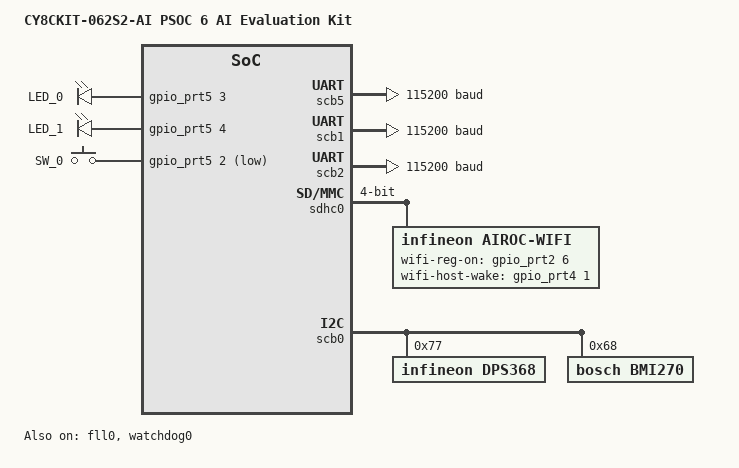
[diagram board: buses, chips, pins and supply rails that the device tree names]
/*
 * Copyright (c) 2024 Arrow Electronics.
 *
 * SPDX-License-Identifier: Apache-2.0
 */

/dts-v1/;
#include <infineon/cat1a/mpns/CY8C624ABZI_S2D44.dtsi>
#include <infineon/cat1a/system_clocks.dtsi>
#include <zephyr/dt-bindings/input/input-event-codes.h>

/ {
	model = "CY8CKIT-062S2-AI PSOC 6 AI Evaluation Kit";
	compatible = "infineon,cy8ckit_062s2_ai", "cypress,PSOC6";

	chosen {
		zephyr,console = &uart5;
		zephyr,shell-uart = &uart5;
		zephyr,sram = &sram0;
		zephyr,flash = &flash0;
		zephyr,bt-hci = &bt_hci_uart;
	};

	aliases {
		led0 = &user_led0;
		sw0 = &user_bt;
		watchdog0 = &watchdog0;
		pressure-sensor = &dps368;
		accel0 = &bmi270;
		sdhc0 = &sdhc0;
	};

	leds {
		compatible = "gpio-leds";

		user_led0: led_0 {
			label = "LED_0";
			gpios = <&gpio_prt5 3 GPIO_ACTIVE_HIGH>;
		};

		user_led1: led_1 {
			label = "LED_1";
			gpios = <&gpio_prt5 4 GPIO_ACTIVE_HIGH>;
		};
	};

	gpio_keys {
		compatible = "gpio-keys";

		user_bt: button_0 {
			label = "SW_0";
			gpios = <&gpio_prt5 2 (GPIO_PULL_UP | GPIO_ACTIVE_LOW)>;
			zephyr,code = <INPUT_KEY_0>;
		};
	};
};

&fll0 {
	status = "okay";
	clock-frequency = <100000000>;
};

&clk_hf0 {
	clock-div = <1>;
	clocks = <&fll0>;
};

/* CLK_HF4 for SDIO/WiFi */
&clk_hf4 {
	clock-div = <1>;
	clocks = <&fll0>;
	status = "okay";
};

/* CM4 core clock = 100MHz
 * &fll clock-frequency / &clk_hf0 clock-div / &clk_fast clock-div = 100MHz / 1 / 1 = 100MHz
 */
&clk_fast {
	clock-div = <1>;
};

/* CM0+ core clock = 50MHz
 * &fll clock-frequency / &clk_hf0 clock-div / &clk_slow clock-div = 100MHz / 1 / 2 = 50MHz
 */
&clk_slow {
	clock-div = <2>;
};

/* PERI core clock = 100MHz
 * &fll clock-frequency / &clk_hf0 clock-div / &clk_peri clock-div = 100MHz / 1 / 1 = 100MHz
 */
&clk_peri {
	clock-div = <1>;
};

&gpio_prt2 {
	status = "okay";
};

&gpio_prt3 {
	status = "okay";
};

&gpio_prt4 {
	status = "okay";
};

&gpio_prt5 {
	status = "okay";
};

&gpio_prt10 {
	status = "okay";
};

/* UART connected to KitProg3 */
uart5: &scb5 {
	compatible = "infineon,uart";
	status = "okay";
	current-speed = <115200>;
	pinctrl-0 = <&p5_1_scb5_uart_tx &p5_0_scb5_uart_rx>;
	pinctrl-names = "default";
};

uart1: &scb1 {
	compatible = "infineon,uart";
	status = "okay";
	current-speed = <115200>;
	pinctrl-0 = <&p10_0_scb1_uart_rx &p10_1_scb1_uart_tx>;
	pinctrl-names = "default";
};

uart2: &scb2 {
	compatible = "infineon,uart";
	status = "okay";

	/* The UART bus speed (current_speed) for zephyr_bt_uart should be the same
	 * as the default baudrate defined in CYW43xx firmware (default 115200).
	 */
	current-speed = <115200>;

	/* HCI-UART pins */
	pinctrl-0 = <&p3_1_scb2_uart_tx &p3_0_scb2_uart_rx &p3_2_scb2_uart_rts &p3_3_scb2_uart_cts>;
	pinctrl-names = "default";

	/* HW Flow control must be enabled for HCI H4 */
	hw-flow-control;

	bt_hci_uart: bt_hci_uart {
		compatible = "zephyr,bt-hci-uart";

		murata-1yn {
			status = "okay";
			compatible = "infineon,bt-hci-uart";
			bt-reg-on-gpios = <&gpio_prt3 4 GPIO_ACTIVE_HIGH>;
			bt-host-wake-gpios = <&gpio_prt4 0 GPIO_ACTIVE_HIGH>;
			bt-dev-wake-gpios = <&gpio_prt3 5 GPIO_ACTIVE_HIGH>;

			/* Configuration UART speeds for firmware download (fw-download-speed)
			 * and HCI operation (hci-operation-speed).
			 * If hci-operation-speed or fw-download-speed are not defined in
			 * bt-hci{...} node, cyw43xx driver will use bus/current-speed as
			 * default speed.
			 */
			fw-download-speed = <3000000>;
		};
	};
};

&sdhc0 {
	status = "okay";

	/* SDIO pins */
	pinctrl-0 = <&p2_4_sdio_cmd &p2_5_sdio_clk &p2_0_sdio_data0
		     &p2_1_sdio_data1 &p2_2_sdio_data2 &p2_3_sdio_data3>;
	pinctrl-names = "default";

	bus-width = <4>;
	max-bus-freq = <50000000>;
	min-bus-freq = <400000>;
	power-delay-ms = <1000>;
	no-1-8-v;
	clocks = <&clk_hf4>;

	/* Wi-Fi configuration */
	airoc-wifi {
		status = "okay";
		compatible = "infineon,airoc-wifi";

		/* Wi-Fi control gpios */
		wifi-reg-on-gpios = <&gpio_prt2 6 GPIO_ACTIVE_HIGH>;
		wifi-host-wake-gpios = <&gpio_prt4 1 GPIO_ACTIVE_HIGH>;
	};
};

i2c0: &scb0 {
	compatible = "infineon,i2c";
	status = "okay";

	#address-cells = <1>;
	#size-cells = <0>;

	pinctrl-0 = <&p0_2_scb0_i2c_scl &p0_3_scb0_i2c_sda>;
	pinctrl-names = "default";

	dps368: dps368@77 {
		compatible = "infineon,dps368", "infineon,dps310";
		status = "okay";
		reg = <0x77>;
	};

	bmi270: bmi270@68 {
		compatible = "bosch,bmi270";
		status = "okay";
		reg = <0x68>;
	};
};

&p0_2_scb0_i2c_scl {
	drive-open-drain;
	input-enable;
};

&p0_3_scb0_i2c_sda {
	drive-open-drain;
	input-enable;
};

&p3_1_scb2_uart_tx {
	drive-push-pull;
};

&p3_0_scb2_uart_rx {
	input-enable;
};

&p3_2_scb2_uart_rts {
	drive-push-pull;
};

&p3_3_scb2_uart_cts {
	input-enable;
};

&p5_1_scb5_uart_tx {
	drive-push-pull;
};

&p5_0_scb5_uart_rx {
	input-enable;
};

&p10_1_scb1_uart_tx {
	drive-push-pull;
};

&p10_0_scb1_uart_rx {
	input-enable;
};

&pinctrl {
	/* Configure pin control bias mode for SDIO (CYW43439 WiFi) */
	p2_5_sdio_clk: p2_5_sdio_clk {
		pinmux = <DT_CAT1_PINMUX(2, 5, HSIOM_SEL_ACT_14)>;
		drive-push-pull;
		input-enable;
	};

	p2_4_sdio_cmd: p2_4_sdio_cmd {
		pinmux = <DT_CAT1_PINMUX(2, 4, HSIOM_SEL_ACT_14)>;
		drive-push-pull;
		input-enable;
	};

	p2_0_sdio_data0: p2_0_sdio_data0 {
		pinmux = <DT_CAT1_PINMUX(2, 0, HSIOM_SEL_ACT_14)>;
		drive-push-pull;
		input-enable;
	};

	p2_1_sdio_data1: p2_1_sdio_data1 {
		pinmux = <DT_CAT1_PINMUX(2, 1, HSIOM_SEL_ACT_14)>;
		drive-push-pull;
		input-enable;
	};

	p2_2_sdio_data2: p2_2_sdio_data2 {
		pinmux = <DT_CAT1_PINMUX(2, 2, HSIOM_SEL_ACT_14)>;
		drive-push-pull;
		input-enable;
	};

	p2_3_sdio_data3: p2_3_sdio_data3 {
		pinmux = <DT_CAT1_PINMUX(2, 3, HSIOM_SEL_ACT_14)>;
		drive-push-pull;
		input-enable;
	};
};

&watchdog0 {
	status = "okay";
};
